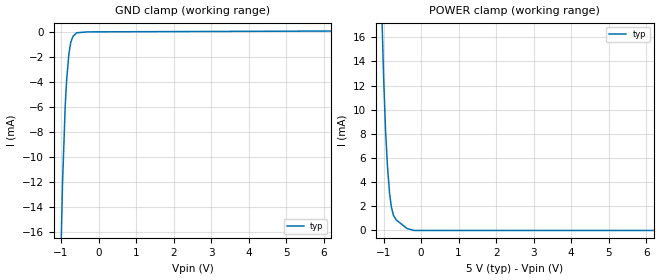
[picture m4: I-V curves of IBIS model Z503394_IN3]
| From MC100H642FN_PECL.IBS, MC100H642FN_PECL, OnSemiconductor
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| (C) COPYRIGHT 1993-2000
| MENTOR GRAPHICS CORPORATION
| ICX STANDARD LIBRARY, ICX PROJECT MODELING,
| ICX CUSTOM MODELING, ICX VENDOR MODEL
| ALL RIGHTS RESERVED.
| THE FOLLOWING ARE TRADEMARKS OR SERVICE MARKS OF
| MENTOR GRAPHICS CORPORATION:ICX (R), ICX STANDARD
| LIBRARY(R), ICX PROJECT MODELING(R), ICX CUSTOM
| MODELING(R), qualityIBIS(TM), MODELVIEWER(TM),
| AND MODELEDITOR(TM)
| ALL COPIES OF SOFTWARE, INCLUDING BUT NOT LIMITED TO
| ANY MODIFICATIONS, ENHANCEMENTS OR DERIVATIVE WORKS,
| MUST CONTAIN ALL MENTOR GRAPHICS CORPORATION'S
| NOTICES AND LEGENDS, INCLUDING THOSE EMBEDDED IN
| SOFTWARE AND THOSE AFFIXED TO SOFTWARE MEDIUM
| AND CONTAINER, AS RECEIVED FROM MENTOR GRAPHICS
| CORPORATION.
| Model Application Version 1.89 2/18/99.
[Model] Z503394_IN3
Model_type Input
Vinl = 3.525V
Vinh = 3.835V
C_comp 4.000pF NA NA
| variable typ   min   max
[Voltage Range] 5.000V NA NA
[GND Clamp Reference] 0.000V NA NA
[POWER Clamp Reference] 5.000V NA NA
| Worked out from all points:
|   GND clamp passes 1 mA (typ) near -0.75 V on its own axis
|   POWER clamp passes 1 mA (typ) near -0.69 V on its own axis
[GND Clamp]
-5V       -559.6mA   NA         NA
-961.4mV  -12.24mA   NA         NA
-888.6mV  -5.93mA    NA         NA
-848.4mV  -3.78mA    NA         NA
-790.3mV  -1.781mA   NA         NA
-741.6mV  -861.3uA   NA         NA
-682.7mV  -378.7uA   NA         NA
-586.4mV  -91.22uA   NA         NA
-293.2mV  -17.99uA   NA         NA
10V       89.29uA    NA         NA
[POWER Clamp]
-5V       458.7mA    NA         NA
-998mV    12.73mA    NA         NA
-947mV    8.325mA    NA         NA
-894mV    5.254mA    NA         NA
-839mV    3.072mA    NA         NA
-791mV    1.933mA    NA         NA
-735mV    1.24mA     NA         NA
-660mV    869.6uA    NA         NA
-371mV    158.3uA    NA         NA
-185.5mV  0A         NA         NA
10V       0A         NA         NA
